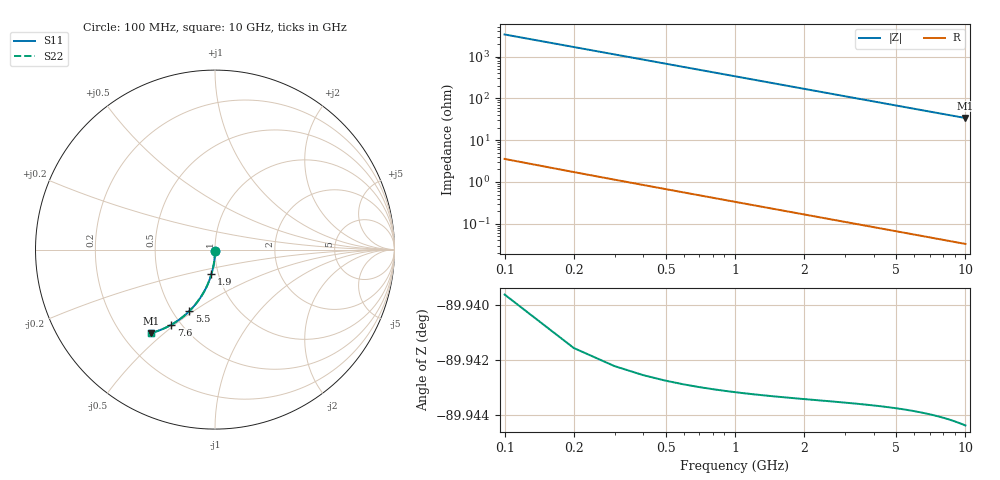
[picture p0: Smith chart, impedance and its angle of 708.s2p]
# Hz S RI R 50.00
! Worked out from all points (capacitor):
!   100 points, 100 MHz to 10 GHz, reference 50 ohm
!   read as one part in shunt: C = 472 fF near 100 MHz
!   lowest |Z| = 33.8 ohm at 10 GHz (marker M1)
!   S11 on the Smith chart (normalised r, x): 100 MHz: 1.00, -0.01; 1.9 GHz: 0.93, -0.26; 5.5 GHz: 0.60, -0.48; 7.6 GHz: 0.45, -0.49; 10 GHz: 0.32, -0.45
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1e8  -3.92e-05 -0.00729  0.9999 -0.00755  0.9999 -0.00755  -3.92e-05 -0.00729
2e8  -0.000211 -0.0146  0.9997 -0.0151  0.9997 -0.0151  -0.000211 -0.0146
3e8  -0.000494 -0.0219  0.9995 -0.0226  0.9995 -0.0226  -0.000494 -0.0219
4e8  -0.000886 -0.0291  0.9991 -0.0302  0.9991 -0.0302  -0.000886 -0.0291
5e8  -0.00139 -0.0364  0.9986 -0.0377  0.9986 -0.0377  -0.00139 -0.0364
6e8  -0.002 -0.0437  0.998 -0.0452  0.998 -0.0452  -0.002 -0.0437
8e8  -0.00355 -0.0581  0.9964 -0.0602  0.9964 -0.0602  -0.00355 -0.0581
9e8  -0.00448 -0.0653  0.9955 -0.0677  0.9955 -0.0677  -0.00448 -0.0653
1.1e9  -0.00668 -0.0797  0.9933 -0.0825  0.9933 -0.0825  -0.00668 -0.0797
1.4e9  -0.0108 -0.101  0.9892 -0.1046  0.9892 -0.1046  -0.0108 -0.101
1.8e9  -0.0177 -0.1289  0.9823 -0.1336  0.9823 -0.1336  -0.0177 -0.1289
1.9e9  -0.0196 -0.1358  0.9803 -0.1408  0.9803 -0.1408  -0.0196 -0.1358
2.2e9  -0.0261 -0.1562  0.9738 -0.162  0.9738 -0.162  -0.0261 -0.1562
2.6e9  -0.0361 -0.1827  0.9638 -0.1896  0.9638 -0.1896  -0.0361 -0.1827
3.4e9  -0.0602 -0.233  0.9397 -0.2419  0.9397 -0.2419  -0.0602 -0.233
4.2e9  -0.0891 -0.2789  0.9108 -0.29  0.9108 -0.29  -0.0891 -0.2789
5.1e9  -0.126 -0.3247  0.8738 -0.3382  0.8738 -0.3382  -0.126 -0.3247
5.5e9  -0.1437 -0.3431  0.8562 -0.3576  0.8562 -0.3576  -0.1437 -0.3431
6.7e9  -0.1995 -0.3903  0.8003 -0.4081  0.8003 -0.4081  -0.1995 -0.3903
7.6e9  -0.2429 -0.4182  0.7568 -0.4386  0.7568 -0.4386  -0.2429 -0.4182
8.4e9  -0.2817 -0.4381  0.718 -0.4607  0.718 -0.4607  -0.2817 -0.4381
1e10  -0.3575 -0.4653  0.6421 -0.4924  0.6421 -0.4924  -0.3575 -0.4653
